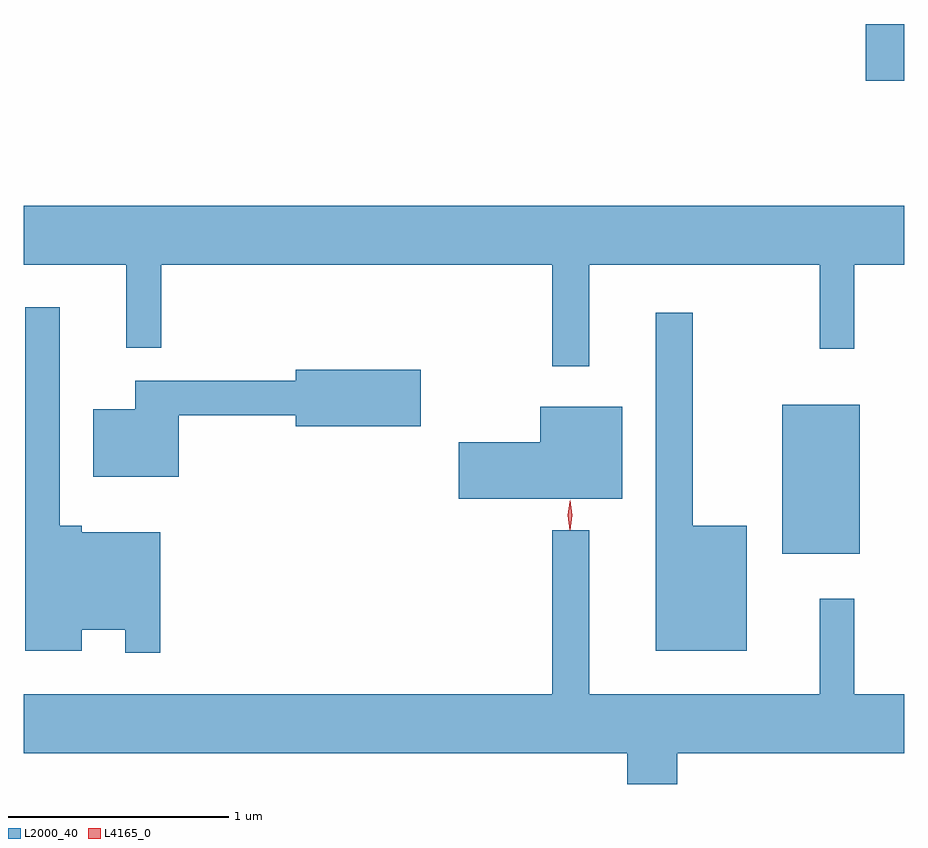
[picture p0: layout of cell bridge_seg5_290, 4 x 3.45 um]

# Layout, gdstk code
import gdstk
lib = gdstk.Library(unit=1e-6, precision=1e-09)
def R(c, l, rs):  # rectangles x0, y0, x1, y1
    for r in rs: c.add(gdstk.rectangle(r[:2], r[2:], *l))
def P(c, l, *ps):  # polygons
    for p in ps: c.add(gdstk.Polygon(p, *l))
L2000_40 = (2000, 40)
L4165_0 = (4165, 0)

bridge_seg5_290 = lib.new_cell('bridge_seg5_290')
R(bridge_seg5_290, L2000_40, [(690.736,1519.861,691.089,1520.539), (691.116,1522.011,691.29,1522.269)])
P(bridge_seg5_290, L2000_40, [(687.29,1521.176),(687.756,1521.176),(687.756,1520.798),(687.914,1520.798),(687.914,1521.176),(689.691,1521.176),(689.691,1520.713),(689.859,1520.713),(689.859,1521.176),(690.906,1521.176),(690.906,1520.793),(691.064,1520.793),(691.064,1521.176),(691.29,1521.176),(691.29,1521.444),(687.29,1521.444)],
  [(687.909,1519.959),(687.554,1519.959),(687.554,1519.989),(687.454,1519.989),(687.454,1520.983),(687.296,1520.983),(687.296,1519.421),(687.554,1519.421),(687.554,1519.516),(687.751,1519.516),(687.751,1519.413),(687.909,1519.413)],
  [(690.574,1519.989),(690.329,1519.989),(690.329,1520.958),(690.161,1520.958),(690.161,1519.421),(690.574,1519.421)],
  [(687.994,1520.491),(688.526,1520.491),(688.526,1520.441),(689.094,1520.441),(689.094,1520.699),(688.526,1520.699),(688.526,1520.649),(687.796,1520.649),(687.796,1520.519),(687.606,1520.519),(687.606,1520.211),(687.994,1520.211)],
  [(690.009,1520.529),(689.636,1520.529),(689.636,1520.369),(689.266,1520.369),(689.266,1520.111),(690.009,1520.111)],
  [(690.259,1518.956),(691.29,1518.956),(691.29,1519.224),(691.064,1519.224),(691.064,1519.658),(690.906,1519.658),(690.906,1519.224),(689.859,1519.224),(689.859,1519.968),(689.691,1519.968),(689.691,1519.224),(687.29,1519.224),(687.29,1518.956),(690.031,1518.956),(690.031,1518.816),(690.259,1518.816)])
P(bridge_seg5_290, L4165_0, [(689.77,1519.97),(689.762,1520.038),(689.772,1520.106),(689.772,1520.106),(689.773,1520.106),(689.782,1520.038),(689.772,1519.97),(689.771,1519.97)],
  [(689.771,1519.973),(689.77,1519.974),(689.761,1520.036),(689.77,1520.099),(689.77,1520.1),(689.771,1520.099),(689.781,1520.036),(689.772,1519.974)])

lib.write_gds('bridge_seg5_290.gds')
